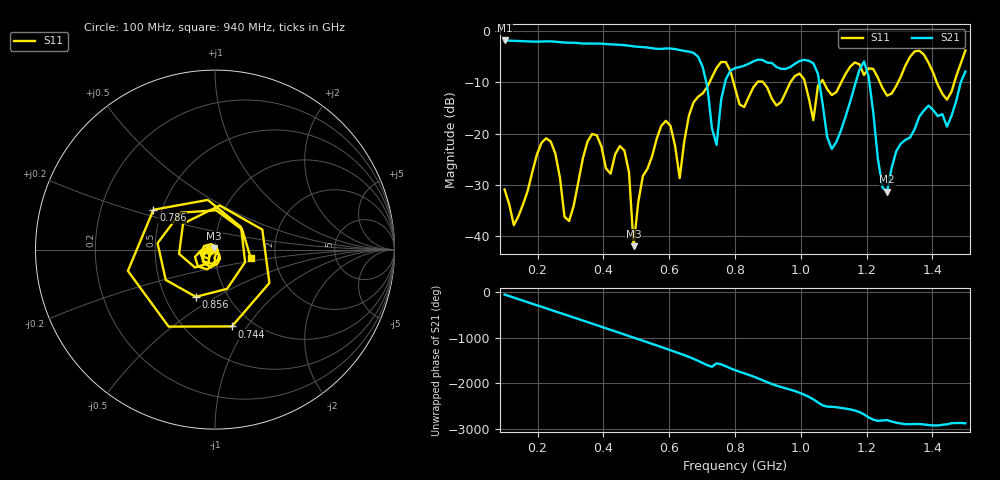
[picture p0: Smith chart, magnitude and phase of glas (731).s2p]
! NanoVNA-App
! Date: 2025-09-25 16:01:10
! Start: 100MHz Stop: 1,5GHz Points: 101
! S-Parameter data: F S11 S21 S12 S22
# Hz S RI R 50
!  Frequency  S11_Real  S11_Imag  S21_Real  S21_Imag  S12_Real  S12_Imag  S22_Real  S22_Imag
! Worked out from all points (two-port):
!   101 points, 100 MHz to 1.5 GHz, reference 50 ohm
!   highest |S21| = -1.80 dB at 100 MHz (marker M1); lowest = -31.4 dB at 1.262 GHz (marker M2)
!   |S21| within 3 dB of the highest: start of sweep to 684.6 MHz
!   lowest |S11| = -42.0 dB at 492 MHz (marker M3), VSWR 1.02, Z = 49.5 + j0.624 ohm
!   |S11| at or under -10 dB: start of sweep to 722.4 MHz; 795.5 MHz to 867.9 MHz (72.41 MHz wide, 8.71 % of centre); 885.9 MHz to 968 MHz (82.07 MHz wide, 8.85 % of centre) (the widest 3 of 7)
!   S12 and S22 are empty: the file has one direction only
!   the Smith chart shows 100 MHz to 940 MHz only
!   S11 on the Smith chart (normalised r, x): 100 MHz: 0.94, -0.01; 744 MHz: 0.80, -0.85; 786 MHz: 0.45, +0.24; 856 MHz: 0.71, -0.41; 940 MHz: 1.49, -0.14
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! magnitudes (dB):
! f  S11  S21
! 100 MHz  -30.9  -1.8
! 128 MHz  -37.9  -1.9
! 226 MHz  -20.9  -2.0
! 296 MHz  -37.1  -2.2
! 338 MHz  -24.8  -2.4
! 464 MHz  -23.3  -2.7
! 492 MHz  -42.0  -2.9
! 576 MHz  -18.5  -3.5
! 632 MHz  -28.7  -3.7
! 702 MHz  -12.1  -7.0
! 744 MHz  -7.2  -22.2
! 786 MHz  -7.8  -7.7
! 800 MHz  -11.1  -7.2
! 856 MHz  -10.9  -5.9
! 940 MHz  -13.8  -7.4
! 996 MHz  -8.3  -5.8
! 1.038 GHz  -17.4  -6.3
! 1.094 GHz  -12.5  -23.0
! 1.192 GHz  -8.5  -5.9
! 1.262 GHz  -12.6  -31.4
! 1.276 GHz  -12.2  -26.7
! 1.5 GHz  -3.8  -7.9
